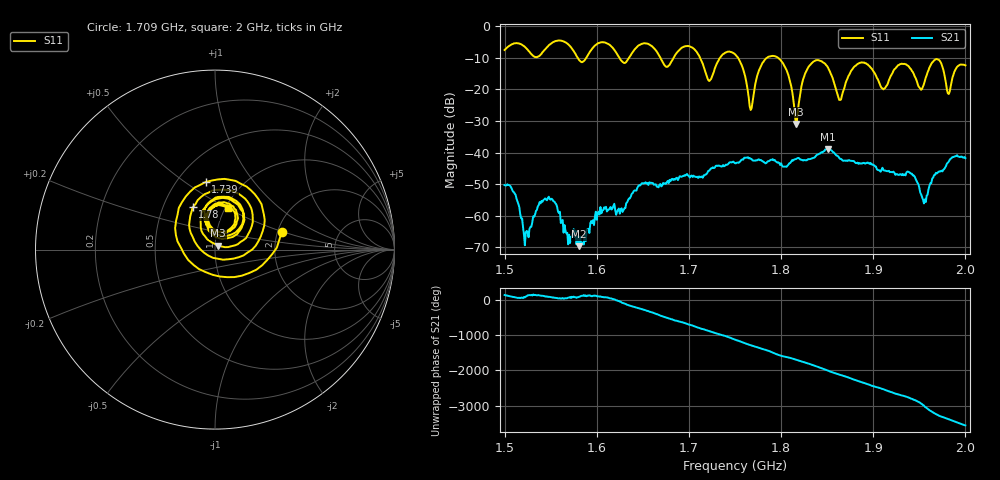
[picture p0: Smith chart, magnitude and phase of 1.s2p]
! NanoVNA-App by SYSJOINT et al v1.1.209 (+OD18)
! Date: 2026-01-21 14:27:47
! Start: 1,5GHz Stop: 2GHz Points: 501
! S-Parameter data: F S11 S21 S12 S22
# Hz S RI R 50
!  Frequency  S11_Real  S11_Imag  S21_Real  S21_Imag  S12_Real  S12_Imag  S22_Real  S22_Imag
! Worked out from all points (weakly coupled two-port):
!   501 points, 1.5 GHz to 2 GHz, reference 50 ohm
!   highest |S21| = -38.85 dB at 1.851 GHz (marker M1); lowest = -69.7 dB at 1.581 GHz (marker M2)
!   lowest |S11| = -31.0 dB at 1.816 GHz (marker M3), VSWR 1.06, Z = 51.7 + j2.35 ohm
!   |S11| at or under -10 dB: 1.712 GHz to 1.734 GHz (21.44 MHz wide, 1.24 % of centre); 1.753 GHz to 1.784 GHz (31.02 MHz wide, 1.75 % of centre); 1.797 GHz to end of sweep (the widest 3 of 6)
!   S12 and S22 are empty: the file has one direction only
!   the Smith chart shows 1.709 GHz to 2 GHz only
!   S11 on the Smith chart (normalised r, x): 1.709 GHz: 2.11, +0.48; 1.739 GHz: 0.68, +0.60; 1.78 GHz: 0.70, +0.36; 2 GHz: 1.03, +0.50
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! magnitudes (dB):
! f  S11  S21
! 1.5 GHz  -7.5  -50.3
! 1.523 GHz  -6.8  -65.3
! 1.549 GHz  -5.8  -54.8
! 1.581 GHz  -10.7  -69.7
! 1.584 GHz  -11.4  -68.5
! 1.667 GHz  -8.9  -51.0
! 1.709 GHz  -8.3  -47.7
! 1.722 GHz  -17.3  -45.8
! 1.739 GHz  -8.4  -44.2
! 1.75 GHz  -8.8  -43.4
! 1.767 GHz  -26.5  -42.0
! 1.78 GHz  -11.5  -42.8
! 1.802 GHz  -11.7  -44.5
! 1.816 GHz  -31.0  -42.1
! 1.834 GHz  -11.5  -41.8
! 1.851 GHz  -13.1  -38.9
! 1.864 GHz  -23.3  -42.0
! 1.885 GHz  -11.6  -43.3
! 1.917 GHz  -17.1  -45.8
! 1.955 GHz  -18.3  -56.1
! 1.968 GHz  -10.4  -46.4
! 2 GHz  -12.4  -41.8
